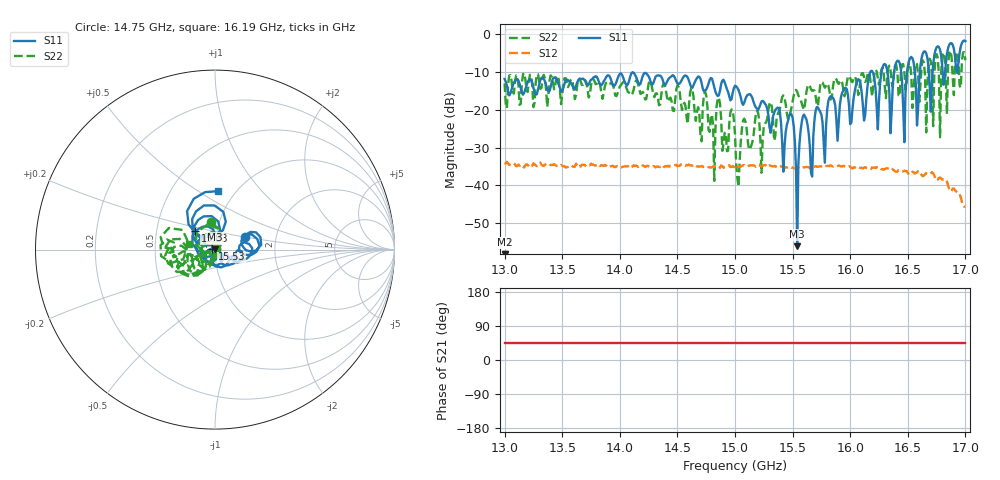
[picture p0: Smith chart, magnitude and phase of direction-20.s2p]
!Keysight Technologies,P9374A,MY57211810,A.19.30.04
!Date: Friday, May 02, 2025 08:58:46
!Correction: S11(Off)
!S21(Off)
!S12(Off)
!S22(Off)
!S2P File: Measurements: S11, S21, S12, S22:
# Hz S  dB  R 50
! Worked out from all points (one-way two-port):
!   401 points, 13 GHz to 17 GHz, reference 50 ohm
!   highest |S21| = - dB at 13 GHz (marker M1); lowest = - dB at 13 GHz (marker M2)
!   lowest |S11| = -56.1 dB at 15.54 GHz (marker M3), VSWR 1.00, Z = 50 + j0.157 ohm
!   |S11| at or under -10 dB: start of sweep to 16.18 GHz; 16.19404 GHz to 16.27266 GHz (78.61 MHz wide, 0.484 % of centre); 16.32281 GHz to 16.38118 GHz (58.37 MHz wide, 0.357 % of centre) (the widest 3 of 8)
!   |S22| runs from -40.3 to -4.4 dB; largest |S21 - S12| = 0.02
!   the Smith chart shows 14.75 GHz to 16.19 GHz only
!   S11 on the Smith chart (normalised r, x): 14.75 GHz: 1.39, +0.21; 15.53 GHz: 0.97, +0.01; 15.83 GHz: 0.79, +0.16; 16.19 GHz: 0.84, +0.61
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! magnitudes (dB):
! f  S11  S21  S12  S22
! 13 GHz  -11.9  -  -34.2  -13.0
! 13.67 GHz  -11.9  -  -34.6  -13.4
! 14.34 GHz  -11.0  -  -35.1  -18.8
! 14.75 GHz  -14.7  -  -34.9  -16.2
! 15 GHz  -13.7  -  -34.9  -26.4
! 15.03 GHz  -14.7  -  -35.2  -40.3
! 15.08 GHz  -18.2  -  -34.6  -22.4
! 15.24 GHz  -17.6  -  -34.8  -28.1
! 15.42 GHz  -36.4  -  -35.2  -16.2
! 15.49 GHz  -21.2  -  -35.3  -19.5
! 15.53 GHz  -36.1  -  -35.4  -14.8
! 15.54 GHz  -56.1  -  -35.2  -15.3
! 15.6 GHz  -21.3  -  -35.3  -20.0
! 15.67 GHz  -37.7  -  -35.2  -15.0
! 15.83 GHz  -16.4  -  -34.7  -17.3
! 16.12 GHz  -22.9  -  -35.3  -11.3
! 16.19 GHz  -9.7  -  -35.3  -16.5
! 16.34 GHz  -15.6  -  -35.6  -8.3
! 16.41 GHz  -7.1  -  -36.4  -10.2
! 16.47 GHz  -28.6  -  -36.1  -9.9
! 16.52 GHz  -6.3  -  -37.1  -7.9
! 17 GHz  -1.9  -  -45.7  -6.9
